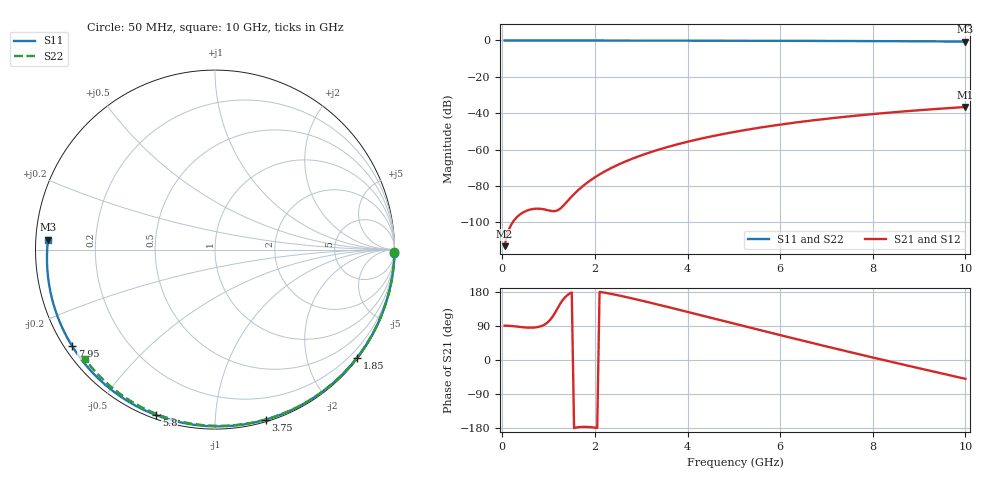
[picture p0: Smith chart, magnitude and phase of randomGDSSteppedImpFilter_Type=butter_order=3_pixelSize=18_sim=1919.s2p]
! freq	dB(S11)	phase(S11)	dB(S12)	phase(S12)
!  dB(S21)	phase(S21)	dB(S22)	phase(S22)
!S-par simulation data
#  GHz  S  DB  R 50
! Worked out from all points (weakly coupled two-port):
!   200 points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, 50 MHz to 10 GHz, reference 50 ohm
!   highest |S21| = -36.62 dB at 10 GHz (marker M1); lowest = -113.2 dB at 50 MHz (marker M2)
!   lowest |S11| = -0.6 dB at 10 GHz (marker M3), VSWR 28.47, Z = 1.76 + j1.48 ohm
!   |S11| at or under -10 dB: nowhere
!   |S22| runs from -0.5 to 0.0 dB; largest |S21 - S12| = 0
!   S11 on the Smith chart (normalised r, x): 50 MHz: open; 1.85 GHz: 0.03, -2.96; 3.75 GHz: 0.02, -1.34; 5.8 GHz: 0.02, -0.71; 7.95 GHz: 0.02, -0.31; 10 GHz: 0.04, +0.03
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0.05  -0.00 -1.0  -113.19 90.3  -113.19 90.3  -0.00 -0.8
0.45  -0.01 -9.3  -94.62 86.2  -94.62 86.2  -0.01 -7.3
0.85  -0.02 -17.4  -92.72 89.8  -92.72 89.8  -0.02 -13.7
1.3  -0.03 -26.4  -91.38 157.5  -91.38 157.5  -0.03 -20.8
1.75  -0.04 -35.4  -79.92 -176.4  -79.92 -176.4  -0.04 -27.9
1.85  -0.05 -37.4  -77.94 -176.7  -77.94 -176.7  -0.04 -29.5
2.15  -0.05 -43.2  -72.96 179.0  -72.96 179.0  -0.04 -34.1
2.5  -0.06 -50.0  -68.38 170.8  -68.38 170.8  -0.05 -39.5
2.9  -0.07 -57.7  -64.16 159.8  -64.16 159.8  -0.06 -45.6
3.4  -0.09 -67.0  -59.89 145.1  -59.89 145.1  -0.07 -53.1
3.75  -0.10 -73.5  -57.36 134.5  -57.36 134.5  -0.08 -58.2
4.4  -0.12 -85.2  -53.41 114.6  -53.41 114.6  -0.10 -67.6
5.05  -0.15 -96.6  -50.16 94.7  -50.16 94.7  -0.12 -76.7
5.8  -0.19 -109.5  -47.05 71.8  -47.05 71.8  -0.15 -86.9
6.7  -0.24 -124.7  -43.99 44.7  -43.99 44.7  -0.19 -98.7
7.35  -0.30 -135.7  -42.13 25.5  -42.13 25.5  -0.23 -107.0
7.95  -0.35 -145.9  -40.63 8.0  -40.63 8.0  -0.27 -114.6
8.35  -0.39 -152.9  -39.72 -3.4  -39.72 -3.4  -0.31 -119.5
8.8  -0.44 -160.8  -38.78 -16.2  -38.78 -16.2  -0.35 -125.1
9.2  -0.49 -168.1  -38.00 -27.4  -38.00 -27.4  -0.39 -130.0
9.6  -0.55 -175.6  -37.28 -38.6  -37.28 -38.6  -0.43 -134.8
10  -0.61 176.6  -36.62 -49.7  -36.62 -49.7  -0.48 -139.7
